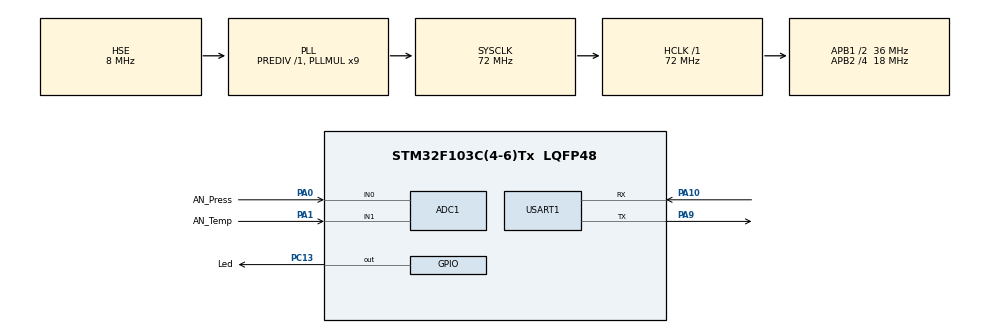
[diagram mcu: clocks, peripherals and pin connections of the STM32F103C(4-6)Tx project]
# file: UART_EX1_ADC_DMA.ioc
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ADC1.Channel-0\#ChannelRegularConversion=ADC_CHANNEL_0
ADC1.Channel-1\#ChannelRegularConversion=ADC_CHANNEL_1
ADC1.ContinuousConvMode=ENABLE
ADC1.NbrOfConversion=2
ADC1.NbrOfConversionFlag=1
ADC1.Rank-0\#ChannelRegularConversion=1
ADC1.Rank-1\#ChannelRegularConversion=2
ADC1.SamplingTime-0\#ChannelRegularConversion=ADC_SAMPLETIME_28CYCLES_5
ADC1.SamplingTime-1\#ChannelRegularConversion=ADC_SAMPLETIME_28CYCLES_5
ADC1.master=1
Dma.ADC1.0.Direction=DMA_PERIPH_TO_MEMORY
Dma.ADC1.0.Instance=DMA1_Channel1
Dma.ADC1.0.MemDataAlignment=DMA_MDATAALIGN_HALFWORD
Dma.ADC1.0.MemInc=DMA_MINC_ENABLE
Dma.ADC1.0.Mode=DMA_CIRCULAR
Dma.ADC1.0.PeriphDataAlignment=DMA_PDATAALIGN_HALFWORD
Dma.ADC1.0.PeriphInc=DMA_PINC_DISABLE
Dma.ADC1.0.Priority=DMA_PRIORITY_LOW
Dma.Request0=ADC1
Mcu.Family=STM32F1
Mcu.Name=STM32F103C(4-6)Tx
Mcu.Package=LQFP48
NVIC.DMA1_Channel1_IRQn=true\:0\:0\:false\:false\:true\:false\:true\:true
NVIC.PriorityGroup=NVIC_PRIORITYGROUP_4
PA0-WKUP.GPIO_Label=AN_Press
PA0-WKUP.Signal=ADCx_IN0
PA1.GPIO_Label=AN_Temp
PA1.Signal=ADCx_IN1
PA10.Mode=Asynchronous
PA10.Signal=USART1_RX
PA13.Mode=Serial_Wire
PA13.Signal=SYS_JTMS-SWDIO
PA14.Mode=Serial_Wire
PA14.Signal=SYS_JTCK-SWCLK
PA9.Mode=Asynchronous
PA9.Signal=USART1_TX
PC13-TAMPER-RTC.GPIO_Label=Led
PC13-TAMPER-RTC.Signal=GPIO_Output
PD0-OSC_IN.Mode=HSE-External-Oscillator
PD0-OSC_IN.Signal=RCC_OSC_IN
PD1-OSC_OUT.Mode=HSE-External-Oscillator
PD1-OSC_OUT.Signal=RCC_OSC_OUT
ProjectManager.HeapSize=0x200
ProjectManager.StackSize=0x400
ProjectManager.TargetToolchain=STM32CubeIDE
RCC.AHBFreq_Value=72000000
RCC.APB1CLKDivider=RCC_HCLK_DIV2
RCC.APB1Freq_Value=36000000
RCC.APB1TimFreq_Value=72000000
RCC.APB2CLKDivider=RCC_HCLK_DIV4
RCC.APB2Freq_Value=18000000
RCC.APB2TimFreq_Value=36000000
RCC.HCLKFreq_Value=72000000
RCC.PLLMUL=RCC_PLL_MUL9
RCC.PLLSourceVirtual=RCC_PLLSOURCE_HSE
RCC.SYSCLKFreq_VALUE=72000000
RCC.SYSCLKSource=RCC_SYSCLKSOURCE_PLLCLK
RCC.USBFreq_Value=72000000
SH.ADCx_IN0.0=ADC1_IN0,IN0
SH.ADCx_IN1.0=ADC1_IN1,IN1
USART1.VirtualMode=VM_ASYNC
board=custom

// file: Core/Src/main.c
/* USER CODE BEGIN Header */
/**
  ******************************************************************************
  * @file           : main.c
  * @brief          : Main program body
  ******************************************************************************
  * @attention
  *
  * Copyright (c) 2026 STMicroelectronics.
  * All rights reserved.
  *
  * This software is licensed under terms that can be found in the LICENSE file
  * in the root directory of this software component.
  * If no LICENSE file comes with this software, it is provided AS-IS.
  *
  ******************************************************************************
  */
/* USER CODE END Header */
#include "main.h"

/* USER CODE BEGIN Includes */
//******************* AQUI INCLUIMOS AS BIBLIOTECAS QUE VAMOS USAR ***********************************
#include "stdio.h"
#include "string.h"

/* USER CODE END Includes */

/* USER CODE BEGIN PTD */
//******************* AQUI CRIAMOS TIPOS ESPECIAIS DE DADOS QUE VAMOS USAR *****************************
typedef enum {
	Led_Ligado = 0,
	Led_Deligado = 1
}LedStatus;

enum {
	AN0 = 0,
	AN1 = 1
}ADC_Channel;

/* USER CODE END PTD */

/* USER CODE BEGIN PD */
//******************* AQUI CRIAMOS DEFINES QUE SERVEM COMO CONTANTES AO LONGO DO CODIGO OU SAO USADOS PARA CONFIGURAR OS REGISTRADORES
#define pi 3.14
#define FatorADC 0.0008056640625
#define alpha 0.05

/* USER CODE END PD */

ADC_HandleTypeDef hadc1;
DMA_HandleTypeDef hdma_adc1;

UART_HandleTypeDef huart1;

/* USER CODE BEGIN PV */
//******************* AQUI CRIAMOS VARIAVEIS GLOBAIS QUE VAMOS USAR *****************************
char mensagem[50];
uint16_t valorADC0;
uint16_t valorADC1;
float temperatura;
float pressao;
float temperatura_Filt;
float pressao_Filt;
float temperatura_Filt_Ant;
float pressao_Filt_Ant;
volatile uint16_t ADCBuffer[2];

/* USER CODE END PV */

void SystemClock_Config(void);
static void MX_GPIO_Init(void);
static void MX_DMA_Init(void);
static void MX_ADC1_Init(void);
static void MX_USART1_UART_Init(void);
/* USER CODE BEGIN PFP */
//******************* AQUI CRIAMOS PROTOTIPOS DAS FUNÇOES QUE VAMOS CRIAR E USAR *****************************
float CalculaTemperatura(uint8_t ADC_Channel);
float CalculaPressao(uint8_t ADC_Channel);
/* USER CODE END PFP */

int main(void)
{

  /* MCU Configuration--------------------------------------------------------*/

  /* Reset of all peripherals, Initializes the Flash interface and the Systick. */
  HAL_Init();

  /* Configure the system clock */
  SystemClock_Config();

  /* Initialize all configured peripherals */
  MX_GPIO_Init();
  MX_DMA_Init();
  MX_ADC1_Init();
  MX_USART1_UART_Init();
  /* USER CODE BEGIN 2 */
  HAL_ADCEx_Calibration_Start(&hadc1); // Inicia o ADC no Modo DMA para multiplos canais
  HAL_ADC_Start_DMA(&hadc1, (uint32_t *)ADCBuffer, 2); //O uso do cast aqui é para suprimir o conflito com o a declaração generica dessa função

  /* USER CODE END 2 */

  /* Infinite loop */
  /* USER CODE BEGIN WHILE */
  while (1)
  {
	  //******************* AQUI ESCREVEMOS O CODIGO QUE SERA EXECUTADO REPETIDAMENTE *****************************
	  HAL_Delay(100);
	  HAL_GPIO_TogglePin(Led_GPIO_Port, Led_Pin);

	  temperatura = CalculaTemperatura(AN1);
	  temperatura_Filt = alpha * temperatura + (1 - alpha) * temperatura_Filt_Ant;
	  temperatura_Filt_Ant = temperatura_Filt;

	  pressao = CalculaPressao(AN0);
	  pressao_Filt = alpha * pressao + (1 - alpha) * pressao_Filt_Ant;
	  pressao_Filt_Ant = pressao_Filt;

  	  sprintf(mensagem, "***************************************\n");
  	  HAL_UART_Transmit(&huart1, (uint8_t*)mensagem, strlen(mensagem), 10);
  	  sprintf(mensagem, "Valor ADC CH0 = %d\n", ADCBuffer[AN0]);
  	  HAL_UART_Transmit(&huart1, (uint8_t*)mensagem, strlen(mensagem), 10);
  	  sprintf(mensagem, "Valor ADC CH1 = %d\n", ADCBuffer[AN1]);
  	  HAL_UART_Transmit(&huart1, (uint8_t*)mensagem, strlen(mensagem), 10);

  	  sprintf(mensagem, "TEMPERATURA = %.2f Celsius\n", temperatura_Filt);
  	  HAL_UART_Transmit(&huart1, (uint8_t*)mensagem, strlen(mensagem), 10);
  	  sprintf(mensagem, "PRESSAO = %.2f KPA\n\n", pressao_Filt);
  	  HAL_UART_Transmit(&huart1, (uint8_t*)mensagem, strlen(mensagem), 10);

    /* USER CODE END WHILE */

  }
}//FIM do MAIN

//******************* AQUI ESCREVEMOS AS FUNÇOES QUE FORAM DECLARADAS ANTERIORMENTE *****************************
float CalculaTemperatura(uint8_t ADC_Channel){
	float volt = ADCBuffer[ADC_Channel]*FatorADC;
	//y = -11,023x3 + 60,988x2 - 139,27x + 143,09 --> função de transferencia calculada
	float ValorTemp = -(11.023*(volt*volt*volt))+
	  			  (60.988*(volt*volt))-(139.27*volt)+143.09;
	return ValorTemp;
}

float CalculaPressao(uint8_t ADC_Channel){
	float Volt = (ADCBuffer[ADC_Channel]*FatorADC)*1.515;
	float ValorPressao = ((Volt/5.1)+0.04)/0.00369;
	return ValorPressao;
	/*
	Modelo: NXP MPX4250AP
	Pressões entre 20 kPa e 250 kPa.
	A fórmula padrão fornecida pelo datasheet para uma tensão de alimentação (Vs) de 5.1V
	Vout = Vs*(0.00369*P-0.04).

	Onde:
	- Vout é a tensão de saída (em Volts).
	- Vs é a tensão de alimentação (tipicamente 5.0 ou 5.1V).
	- P é a pressão absoluta (em kPa).
	*/
}

void SystemClock_Config(void)
{
  RCC_OscInitTypeDef RCC_OscInitStruct = {0};
  RCC_ClkInitTypeDef RCC_ClkInitStruct = {0};
  RCC_PeriphCLKInitTypeDef PeriphClkInit = {0};

  /** Initializes the RCC Oscillators according to the specified parameters
  * in the RCC_OscInitTypeDef structure.
  */
  RCC_OscInitStruct.OscillatorType = RCC_OSCILLATORTYPE_HSE;
  RCC_OscInitStruct.HSEState = RCC_HSE_ON;
  RCC_OscInitStruct.HSEPredivValue = RCC_HSE_PREDIV_DIV1;
  RCC_OscInitStruct.HSIState = RCC_HSI_ON;
  RCC_OscInitStruct.PLL.PLLState = RCC_PLL_ON;
  RCC_OscInitStruct.PLL.PLLSource = RCC_PLLSOURCE_HSE;
  RCC_OscInitStruct.PLL.PLLMUL = RCC_PLL_MUL9;
  if (HAL_RCC_OscConfig(&RCC_OscInitStruct) != HAL_OK)
  {
    Error_Handler();
  }

  /** Initializes the CPU, AHB and APB buses clocks
  */
  RCC_ClkInitStruct.ClockType = RCC_CLOCKTYPE_HCLK|RCC_CLOCKTYPE_SYSCLK
                              |RCC_CLOCKTYPE_PCLK1|RCC_CLOCKTYPE_PCLK2;
  RCC_ClkInitStruct.SYSCLKSource = RCC_SYSCLKSOURCE_PLLCLK;
  RCC_ClkInitStruct.AHBCLKDivider = RCC_SYSCLK_DIV1;
  RCC_ClkInitStruct.APB1CLKDivider = RCC_HCLK_DIV2;
  RCC_ClkInitStruct.APB2CLKDivider = RCC_HCLK_DIV4;

  if (HAL_RCC_ClockConfig(&RCC_ClkInitStruct, FLASH_LATENCY_2) != HAL_OK)
  {
    Error_Handler();
  }
  PeriphClkInit.PeriphClockSelection = RCC_PERIPHCLK_ADC;
  PeriphClkInit.AdcClockSelection = RCC_ADCPCLK2_DIV2;
  if (HAL_RCCEx_PeriphCLKConfig(&PeriphClkInit) != HAL_OK)
  {
    Error_Handler();
  }
}

static void MX_ADC1_Init(void)
{

  ADC_ChannelConfTypeDef sConfig = {0};

  /** Common config
  */
  hadc1.Instance = ADC1;
  hadc1.Init.ScanConvMode = ADC_SCAN_ENABLE;
  hadc1.Init.ContinuousConvMode = ENABLE;
  hadc1.Init.DiscontinuousConvMode = DISABLE;
  hadc1.Init.ExternalTrigConv = ADC_SOFTWARE_START;
  hadc1.Init.DataAlign = ADC_DATAALIGN_RIGHT;
  hadc1.Init.NbrOfConversion = 2;
  if (HAL_ADC_Init(&hadc1) != HAL_OK)
  {
    Error_Handler();
  }

  /** Configure Regular Channel
  */
  sConfig.Channel = ADC_CHANNEL_0;
  sConfig.Rank = ADC_REGULAR_RANK_1;
  sConfig.SamplingTime = ADC_SAMPLETIME_28CYCLES_5;
  if (HAL_ADC_ConfigChannel(&hadc1, &sConfig) != HAL_OK)
  {
    Error_Handler();
  }

  /** Configure Regular Channel
  */
  sConfig.Channel = ADC_CHANNEL_1;
  sConfig.Rank = ADC_REGULAR_RANK_2;
  if (HAL_ADC_ConfigChannel(&hadc1, &sConfig) != HAL_OK)
  {
    Error_Handler();
  }

}

static void MX_USART1_UART_Init(void)
{

  huart1.Instance = USART1;
  huart1.Init.BaudRate = 115200;
  huart1.Init.WordLength = UART_WORDLENGTH_8B;
  huart1.Init.StopBits = UART_STOPBITS_1;
  huart1.Init.Parity = UART_PARITY_NONE;
  huart1.Init.Mode = UART_MODE_TX_RX;
  huart1.Init.HwFlowCtl = UART_HWCONTROL_NONE;
  huart1.Init.OverSampling = UART_OVERSAMPLING_16;
  if (HAL_UART_Init(&huart1) != HAL_OK)
  {
    Error_Handler();
  }

}

static void MX_DMA_Init(void)
{

  /* DMA controller clock enable */
  __HAL_RCC_DMA1_CLK_ENABLE();

  /* DMA interrupt init */
  /* DMA1_Channel1_IRQn interrupt configuration */
  HAL_NVIC_SetPriority(DMA1_Channel1_IRQn, 0, 0);
  HAL_NVIC_EnableIRQ(DMA1_Channel1_IRQn);

}

static void MX_GPIO_Init(void)
{
  GPIO_InitTypeDef GPIO_InitStruct = {0};

  /* GPIO Ports Clock Enable */
  __HAL_RCC_GPIOC_CLK_ENABLE();
  __HAL_RCC_GPIOD_CLK_ENABLE();
  __HAL_RCC_GPIOA_CLK_ENABLE();

  /*Configure GPIO pin Output Level */
  HAL_GPIO_WritePin(Led_GPIO_Port, Led_Pin, GPIO_PIN_RESET);

  /*Configure GPIO pin : Led_Pin */
  GPIO_InitStruct.Pin = Led_Pin;
  GPIO_InitStruct.Mode = GPIO_MODE_OUTPUT_PP;
  GPIO_InitStruct.Pull = GPIO_NOPULL;
  GPIO_InitStruct.Speed = GPIO_SPEED_FREQ_LOW;
  HAL_GPIO_Init(Led_GPIO_Port, &GPIO_InitStruct);

}

void Error_Handler(void)
{
  __disable_irq();
  while (1)
  {
  }
}
